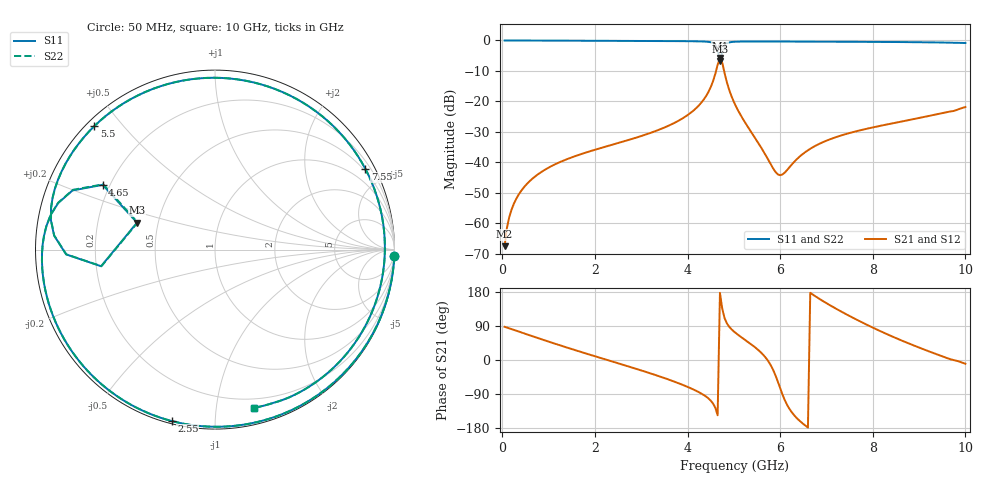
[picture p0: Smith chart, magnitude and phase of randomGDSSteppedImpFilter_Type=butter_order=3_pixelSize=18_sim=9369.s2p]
! freq	dB(S11)	phase(S11)	dB(S12)	phase(S12)
!  dB(S21)	phase(S21)	dB(S22)	phase(S22)
!S-par simulation data
#  GHz  S  DB  R 50
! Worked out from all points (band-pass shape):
!   200 points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, 50 MHz to 10 GHz, reference 50 ohm
!   highest |S21| = -5.75 dB at 4.7 GHz (marker M1); lowest = -67.6 dB at 50 MHz (marker M2)
!   |S21| within 3 dB of the highest: 4.637 GHz to 4.771 GHz (134 MHz wide, 2.85 % of centre)
!   lowest |S11| = -6.8 dB at 4.7 GHz (marker M3), VSWR 2.70, Z = 19 + j7.22 ohm
!   |S11| at or under -10 dB: nowhere
!   |S22| runs from -6.8 to 0.0 dB; largest |S21 - S12| = 0
!   S11 on the Smith chart (normalised r, x): 50 MHz: 0, -54; 2.55 GHz: 0.01, -0.78; 4.65 GHz: 0.17, +0.26; 5.5 GHz: 0.02, +0.42; 7.55 GHz: 0.42, +3.93; 10 GHz: 0.13, -1.27
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0.05  -0.00 -2.1  -67.56 87.6  -67.56 87.6  -0.00 -2.1
0.1  -0.01 -4.2  -61.55 85.6  -61.55 85.6  -0.01 -4.2
0.2  -0.01 -8.4  -55.54 81.5  -55.54 81.5  -0.01 -8.4
0.5  -0.03 -20.9  -47.64 69.0  -47.64 69.0  -0.03 -21.0
1  -0.05 -41.7  -41.77 48.5  -41.77 48.5  -0.05 -41.7
1.75  -0.09 -72.2  -37.08 19.3  -37.08 19.3  -0.09 -72.2
2.55  -0.13 -104.2  -33.48 -10.5  -33.48 -10.5  -0.13 -104.3
3.4  -0.18 -138.5  -29.22 -43.4  -29.22 -43.4  -0.18 -138.6
4.25  -0.30 -176.2  -21.25 -85.3  -21.25 -85.3  -0.30 -176.4
4.55  -0.80 163.5  -13.42 -114.7  -13.42 -114.7  -0.80 163.3
4.65  -2.82 150.0  -7.99 -145.9  -7.99 -145.9  -2.84 149.7
4.7  -6.75 160.9  -5.75 177.3  -5.75 177.3  -6.81 160.7
4.75  -3.86 -171.7  -7.31 135.2  -7.31 135.2  -3.88 -171.7
4.85  -0.92 175.0  -13.75 96.7  -13.75 96.7  -0.92 175.0
5.05  -0.40 158.9  -21.78 70.3  -21.78 70.3  -0.40 158.7
5.5  -0.34 134.4  -32.98 29.4  -32.98 29.4  -0.34 134.2
6  -0.36 108.7  -44.25 -74.4  -44.25 -74.4  -0.36 108.5
6.7  -0.40 72.2  -35.12 173.1  -35.12 173.1  -0.40 72.0
7.55  -0.44 28.3  -30.19 112.8  -30.19 112.8  -0.44 28.1
8.35  -0.50 -9.9  -27.45 65.8  -27.45 65.8  -0.50 -10.1
9.2  -0.61 -45.9  -24.83 23.4  -24.83 23.4  -0.61 -46.0
10  -0.84 -76.2  -21.86 -10.0  -21.86 -10.0  -0.84 -76.2
